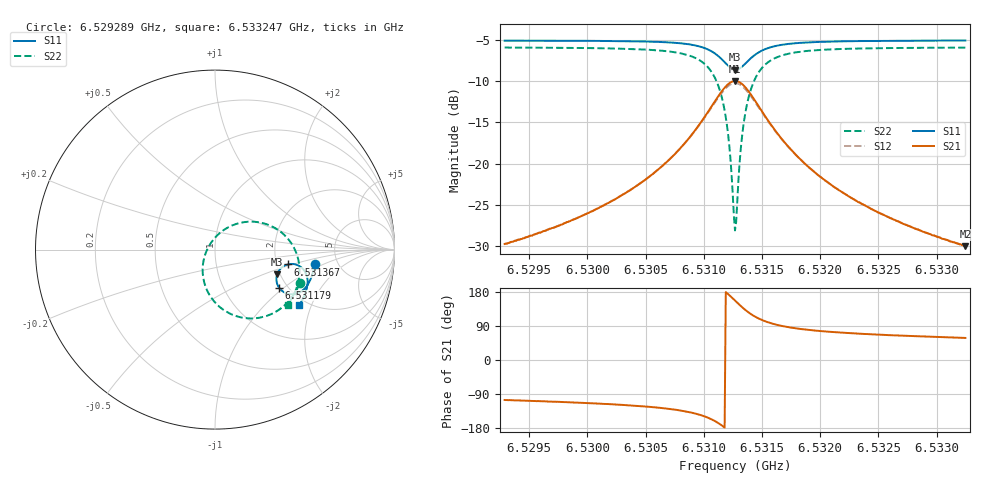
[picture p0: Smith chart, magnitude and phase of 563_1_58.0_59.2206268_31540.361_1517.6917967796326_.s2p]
#  HZ  S  RI  R  50.00
! Rohde & Schwarz Vector Network Analyzer
! Rohde-Schwarz,ZNB20-2Port,1311601062101988,3.16
! Created: UTC 3/21/2024, 1:15:29 AM
! freq[Hz]  re:S11  im:S11  re:S21  im:S21  re:S12  im:S12  re:S22  im:S22
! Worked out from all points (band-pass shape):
!   401 points, 6.529289 GHz to 6.533247 GHz, reference 50 ohm
!   highest |S21| = -9.94 dB at 6.531268 GHz (marker M1); lowest = -30.1 dB at 6.533247 GHz (marker M2)
!   |S21| within 3 dB of the highest: 6.531072 GHz to 6.531467 GHz (395.5 kHz wide, 0.00606 % of centre)
!   lowest |S11| = -8.6 dB at 6.531268 GHz (marker M3), VSWR 2.19, Z = 96.4 - j30.9 ohm
!   |S11| at or under -10 dB: nowhere
!   |S22| runs from -28.2 to -5.9 dB; largest |S21 - S12| = 0.013
!   S11 on the Smith chart (normalised r, x): 6.529289 GHz: 3.36, -0.78; 6.531179 GHz: 1.81, -0.92; 6.531367 GHz: 2.30, -0.46; 6.533247 GHz: 1.82, -1.64
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6.5292895e9  0.555 -0.0793  -0.00863 -0.0312  -0.00936 -0.0309  0.4729 -0.1887
6.5299523e9  0.5431 -0.1348  -0.0188 -0.0441  -0.0197 -0.0438  0.4398 -0.2499
6.5303381e9  0.5299 -0.171  -0.0325 -0.0584  -0.034 -0.0575  0.4036 -0.2955
6.5306151e9  0.5128 -0.2014  -0.0546 -0.075  -0.0566 -0.0736  0.3543 -0.3368
6.5308426e9  0.4843 -0.2305  -0.0961 -0.0941  -0.0989 -0.0908  0.2707 -0.3744
6.5310108e9  0.4385 -0.2485  -0.1667 -0.0991  -0.1689 -0.0921  0.1411 -0.3769
6.5311097e9  0.3924 -0.2414  -0.238 -0.0699  -0.2367 -0.0598  0.022 -0.3159
6.5311789e9  0.3568 -0.2116  -0.2896 -0.00818  -0.283 0.00207  -0.0539 -0.2032
6.5312086e9  0.3463 -0.1902  -0.3027 0.0322  -0.2937 0.0408  -0.0682 -0.1343
6.5312581e9  0.3439 -0.147  -0.2985 0.1096  -0.2869 0.1137  -0.0477 -0.00836
6.531268e9  0.346 -0.1383  -0.293 0.125  -0.2812 0.1281  -0.0359 0.0155
6.5312779e9  0.3494 -0.1299  -0.2861 0.1396  -0.2743 0.1416  -0.022 0.0381
6.5312878e9  0.3534 -0.1219  -0.2777 0.1534  -0.2662 0.1545  -0.00604 0.0593
6.5313273e9  0.3765 -0.0961  -0.2337 0.1974  -0.224 0.1952  0.0731 0.1239
6.5313669e9  0.405 -0.0826  -0.1823 0.2204  -0.1754 0.2166  0.1613 0.1529
6.5314362e9  0.45 -0.083  -0.1039 0.2207  -0.1004 0.2171  0.2923 0.1396
6.5315351e9  0.489 -0.1067  -0.0371 0.1866  -0.0357 0.1848  0.3995 0.068
6.5316835e9  0.5109 -0.1442  0.00222 0.1374  0.00333 0.1366  0.4574 -0.0313
6.5319308e9  0.5157 -0.1883  0.0184 0.0893  0.0193 0.0889  0.4705 -0.1311
6.5322276e9  0.509 -0.2243  0.0205 0.061  0.0215 0.0606  0.4597 -0.1971
6.5325936e9  0.4966 -0.2583  0.0193 0.0426  0.02 0.0423  0.4406 -0.2476
6.5332465e9  0.4708 -0.3077  0.0165 0.0266  0.0172 0.0265  0.4058 -0.3064
